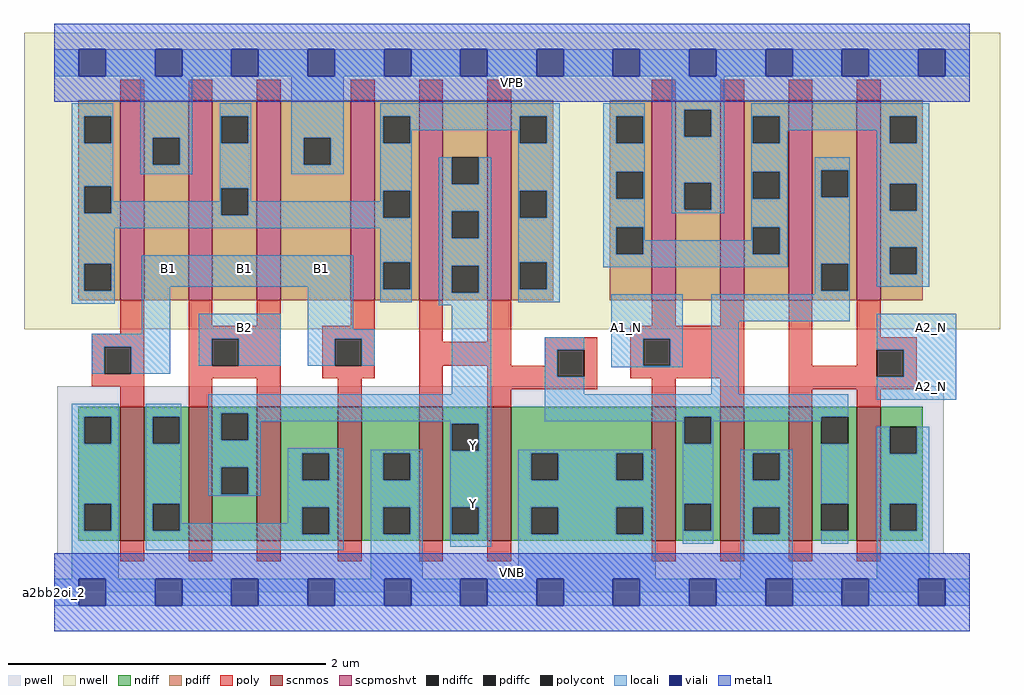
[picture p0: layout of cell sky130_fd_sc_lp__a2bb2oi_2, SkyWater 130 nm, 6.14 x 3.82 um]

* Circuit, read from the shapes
.subckt sky130_fd_sc_lp__a2bb2oi_2 A1_N A2_N B1 B2 VGND VNB VPB VPWR Y
XM1 n1 B1 VGND VNB sky130_fd_pr__nfet_01v8 w=0.84 l=0.15 m=2
XM2 Y B2 n1 VNB sky130_fd_pr__nfet_01v8 w=0.84 l=0.15 m=2
XM3 Y n2 VGND VNB sky130_fd_pr__nfet_01v8 w=0.84 l=0.15 m=2
XM4 n2 A1_N VGND VNB sky130_fd_pr__nfet_01v8 w=0.84 l=0.15 m=2
XM5 n2 A2_N VGND VNB sky130_fd_pr__nfet_01v8 w=0.84 l=0.15 m=2
XM6 VPWR B1 n3 VPB sky130_fd_pr__pfet_01v8_hvt w=1.26 l=0.15 m=2
XM7 n3 B2 VPWR VPB sky130_fd_pr__pfet_01v8_hvt w=1.26 l=0.15 m=2
XM8 Y n2 n3 VPB sky130_fd_pr__pfet_01v8_hvt w=1.26 l=0.15 m=2
XM9 VPWR A1_N n4 VPB sky130_fd_pr__pfet_01v8_hvt w=1.26 l=0.15 m=2
XM10 n2 A2_N n4 VPB sky130_fd_pr__pfet_01v8_hvt w=1.26 l=0.15 m=2
.ends

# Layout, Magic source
magic
tech sky130A
magscale 1 2
<< nwell >>
rect -38 331 1190 704
<< pwell >>
rect 4 49 1119 259
rect 0 0 1152 49
<< scnmos >>
rect 83 65 113 233
rect 169 65 199 233
rect 255 65 285 233
rect 357 65 387 233
rect 459 65 489 233
rect 545 65 575 233
rect 752 65 782 233
rect 838 65 868 233
rect 924 65 954 233
rect 1010 65 1040 233
<< scpmoshvt >>
rect 83 367 113 619
rect 169 367 199 619
rect 255 367 285 619
rect 373 367 403 619
rect 459 367 489 619
rect 545 367 575 619
rect 752 367 782 619
rect 838 367 868 619
rect 924 367 954 619
rect 1010 367 1040 619
<< ndiff >>
rect 30 221 83 233
rect 30 187 38 221
rect 72 187 83 221
rect 30 111 83 187
rect 30 77 38 111
rect 72 77 83 111
rect 30 65 83 77
rect 113 221 169 233
rect 113 187 124 221
rect 158 187 169 221
rect 113 111 169 187
rect 113 77 124 111
rect 158 77 169 111
rect 113 65 169 77
rect 199 225 255 233
rect 199 191 210 225
rect 244 191 255 225
rect 199 157 255 191
rect 199 123 210 157
rect 244 123 255 157
rect 199 65 255 123
rect 285 175 357 233
rect 285 141 312 175
rect 346 141 357 175
rect 285 107 357 141
rect 285 73 312 107
rect 346 73 357 107
rect 285 65 357 73
rect 387 175 459 233
rect 387 141 414 175
rect 448 141 459 175
rect 387 107 459 141
rect 387 73 414 107
rect 448 73 459 107
rect 387 65 459 73
rect 489 212 545 233
rect 489 178 500 212
rect 534 178 545 212
rect 489 107 545 178
rect 489 73 500 107
rect 534 73 545 107
rect 489 65 545 73
rect 575 175 752 233
rect 575 141 600 175
rect 634 141 707 175
rect 741 141 752 175
rect 575 107 752 141
rect 575 73 600 107
rect 634 73 707 107
rect 741 73 752 107
rect 575 65 752 73
rect 782 221 838 233
rect 782 187 793 221
rect 827 187 838 221
rect 782 111 838 187
rect 782 77 793 111
rect 827 77 838 111
rect 782 65 838 77
rect 868 175 924 233
rect 868 141 879 175
rect 913 141 924 175
rect 868 107 924 141
rect 868 73 879 107
rect 913 73 924 107
rect 868 65 924 73
rect 954 221 1010 233
rect 954 187 965 221
rect 999 187 1010 221
rect 954 111 1010 187
rect 954 77 965 111
rect 999 77 1010 111
rect 954 65 1010 77
rect 1040 208 1093 233
rect 1040 174 1051 208
rect 1085 174 1093 208
rect 1040 111 1093 174
rect 1040 77 1051 111
rect 1085 77 1093 111
rect 1040 65 1093 77
<< pdiff >>
rect 30 599 83 619
rect 30 565 38 599
rect 72 565 83 599
rect 30 511 83 565
rect 30 477 38 511
rect 72 477 83 511
rect 30 413 83 477
rect 30 379 38 413
rect 72 379 83 413
rect 30 367 83 379
rect 113 572 169 619
rect 113 538 124 572
rect 158 538 169 572
rect 113 367 169 538
rect 199 599 255 619
rect 199 565 210 599
rect 244 565 255 599
rect 199 508 255 565
rect 199 474 210 508
rect 244 474 255 508
rect 199 367 255 474
rect 285 572 373 619
rect 285 538 314 572
rect 348 538 373 572
rect 285 367 373 538
rect 403 599 459 619
rect 403 565 414 599
rect 448 565 459 599
rect 403 505 459 565
rect 403 471 414 505
rect 448 471 459 505
rect 403 415 459 471
rect 403 381 414 415
rect 448 381 459 415
rect 403 367 459 381
rect 489 547 545 619
rect 489 513 500 547
rect 534 513 545 547
rect 489 479 545 513
rect 489 445 500 479
rect 534 445 545 479
rect 489 411 545 445
rect 489 377 500 411
rect 534 377 545 411
rect 489 367 545 377
rect 575 599 628 619
rect 575 565 586 599
rect 620 565 628 599
rect 575 505 628 565
rect 575 471 586 505
rect 620 471 628 505
rect 575 415 628 471
rect 575 381 586 415
rect 620 381 628 415
rect 575 367 628 381
rect 699 599 752 619
rect 699 565 707 599
rect 741 565 752 599
rect 699 529 752 565
rect 699 495 707 529
rect 741 495 752 529
rect 699 459 752 495
rect 699 425 707 459
rect 741 425 752 459
rect 699 367 752 425
rect 782 607 838 619
rect 782 573 793 607
rect 827 573 838 607
rect 782 515 838 573
rect 782 481 793 515
rect 827 481 838 515
rect 782 367 838 481
rect 868 599 924 619
rect 868 565 879 599
rect 913 565 924 599
rect 868 529 924 565
rect 868 495 879 529
rect 913 495 924 529
rect 868 459 924 495
rect 868 425 879 459
rect 913 425 924 459
rect 868 367 924 425
rect 954 531 1010 619
rect 954 497 965 531
rect 999 497 1010 531
rect 954 413 1010 497
rect 954 379 965 413
rect 999 379 1010 413
rect 954 367 1010 379
rect 1040 599 1093 619
rect 1040 565 1051 599
rect 1085 565 1093 599
rect 1040 514 1093 565
rect 1040 480 1051 514
rect 1085 480 1093 514
rect 1040 434 1093 480
rect 1040 400 1051 434
rect 1085 400 1093 434
rect 1040 367 1093 400
<< ndiffc >>
rect 38 187 72 221
rect 38 77 72 111
rect 124 187 158 221
rect 124 77 158 111
rect 210 191 244 225
rect 210 123 244 157
rect 312 141 346 175
rect 312 73 346 107
rect 414 141 448 175
rect 414 73 448 107
rect 500 178 534 212
rect 500 73 534 107
rect 600 141 634 175
rect 707 141 741 175
rect 600 73 634 107
rect 707 73 741 107
rect 793 187 827 221
rect 793 77 827 111
rect 879 141 913 175
rect 879 73 913 107
rect 965 187 999 221
rect 965 77 999 111
rect 1051 174 1085 208
rect 1051 77 1085 111
<< pdiffc >>
rect 38 565 72 599
rect 38 477 72 511
rect 38 379 72 413
rect 124 538 158 572
rect 210 565 244 599
rect 210 474 244 508
rect 314 538 348 572
rect 414 565 448 599
rect 414 471 448 505
rect 414 381 448 415
rect 500 513 534 547
rect 500 445 534 479
rect 500 377 534 411
rect 586 565 620 599
rect 586 471 620 505
rect 586 381 620 415
rect 707 565 741 599
rect 707 495 741 529
rect 707 425 741 459
rect 793 573 827 607
rect 793 481 827 515
rect 879 565 913 599
rect 879 495 913 529
rect 879 425 913 459
rect 965 497 999 531
rect 965 379 999 413
rect 1051 565 1085 599
rect 1051 480 1085 514
rect 1051 400 1085 434
<< poly >>
rect 83 619 113 645
rect 169 619 199 645
rect 255 619 285 645
rect 373 619 403 645
rect 459 619 489 645
rect 545 619 575 645
rect 752 619 782 645
rect 838 619 868 645
rect 924 619 954 645
rect 1010 619 1040 645
rect 83 325 113 367
rect 47 309 113 325
rect 47 275 63 309
rect 97 275 113 309
rect 47 259 113 275
rect 83 233 113 259
rect 169 335 199 367
rect 255 335 285 367
rect 373 335 403 367
rect 169 319 285 335
rect 169 285 198 319
rect 232 285 285 319
rect 169 269 285 285
rect 337 319 403 335
rect 337 285 353 319
rect 387 285 403 319
rect 337 269 403 285
rect 459 315 489 367
rect 545 315 575 367
rect 752 335 782 367
rect 838 335 868 367
rect 459 285 575 315
rect 617 305 683 321
rect 617 285 633 305
rect 169 233 199 269
rect 255 233 285 269
rect 357 233 387 269
rect 459 233 489 285
rect 545 271 633 285
rect 667 271 683 305
rect 545 255 683 271
rect 725 319 868 335
rect 725 285 741 319
rect 775 285 868 319
rect 725 269 868 285
rect 545 233 575 255
rect 752 233 782 269
rect 838 233 868 269
rect 924 285 954 367
rect 1010 321 1040 367
rect 1010 305 1085 321
rect 1010 285 1035 305
rect 924 271 1035 285
rect 1069 271 1085 305
rect 924 255 1085 271
rect 924 233 954 255
rect 1010 233 1040 255
rect 83 39 113 65
rect 169 39 199 65
rect 255 39 285 65
rect 357 39 387 65
rect 459 39 489 65
rect 545 39 575 65
rect 752 39 782 65
rect 838 39 868 65
rect 924 39 954 65
rect 1010 39 1040 65
<< polycont >>
rect 63 275 97 309
rect 198 285 232 319
rect 353 285 387 319
rect 633 271 667 305
rect 741 285 775 319
rect 1035 271 1069 305
<< locali >>
rect 0 649 31 683
rect 65 649 127 683
rect 161 649 223 683
rect 257 649 319 683
rect 353 649 415 683
rect 449 649 511 683
rect 545 649 607 683
rect 641 649 703 683
rect 737 649 799 683
rect 833 649 895 683
rect 929 649 991 683
rect 1025 649 1087 683
rect 1121 649 1152 683
rect 22 599 74 615
rect 22 565 38 599
rect 72 565 74 599
rect 22 511 74 565
rect 108 572 174 649
rect 108 538 124 572
rect 158 538 174 572
rect 108 526 174 538
rect 208 599 248 615
rect 208 565 210 599
rect 244 565 248 599
rect 22 477 38 511
rect 72 492 74 511
rect 208 508 248 565
rect 298 572 364 649
rect 298 538 314 572
rect 348 538 364 572
rect 298 526 364 538
rect 410 599 636 615
rect 410 565 414 599
rect 448 581 586 599
rect 448 565 450 581
rect 208 492 210 508
rect 72 477 210 492
rect 22 474 210 477
rect 244 492 248 508
rect 410 505 450 565
rect 584 565 586 581
rect 620 565 636 599
rect 410 492 414 505
rect 244 474 414 492
rect 22 471 414 474
rect 448 471 450 505
rect 22 458 450 471
rect 22 413 76 458
rect 22 379 38 413
rect 72 379 76 413
rect 22 363 76 379
rect 110 384 376 424
rect 110 325 146 384
rect 47 309 146 325
rect 47 275 63 309
rect 97 275 146 309
rect 182 319 285 350
rect 182 285 198 319
rect 232 285 285 319
rect 319 331 376 384
rect 410 415 450 458
rect 410 381 414 415
rect 448 381 450 415
rect 410 365 450 381
rect 484 513 500 547
rect 534 513 550 547
rect 484 479 550 513
rect 484 445 500 479
rect 534 445 550 479
rect 484 411 550 445
rect 484 377 500 411
rect 534 377 550 411
rect 484 361 550 377
rect 584 505 636 565
rect 584 471 586 505
rect 620 471 636 505
rect 584 415 636 471
rect 584 381 586 415
rect 620 381 636 415
rect 691 599 743 615
rect 691 565 707 599
rect 741 565 743 599
rect 691 529 743 565
rect 691 495 707 529
rect 741 495 743 529
rect 691 459 743 495
rect 777 607 843 649
rect 777 573 793 607
rect 827 573 843 607
rect 777 515 843 573
rect 777 481 793 515
rect 827 481 843 515
rect 777 477 843 481
rect 877 599 1101 615
rect 877 565 879 599
rect 913 581 1051 599
rect 913 565 923 581
rect 877 529 923 565
rect 1035 565 1051 581
rect 1085 565 1101 599
rect 877 495 879 529
rect 913 495 923 529
rect 691 425 707 459
rect 741 443 743 459
rect 877 459 923 495
rect 877 443 879 459
rect 741 425 879 443
rect 913 425 923 459
rect 691 409 923 425
rect 957 531 1001 547
rect 957 497 965 531
rect 999 497 1001 531
rect 957 413 1001 497
rect 584 365 636 381
rect 957 379 965 413
rect 999 379 1001 413
rect 1035 514 1101 565
rect 1035 480 1051 514
rect 1085 480 1101 514
rect 1035 434 1101 480
rect 1035 400 1051 434
rect 1085 400 1101 434
rect 1035 384 1101 400
rect 957 375 1001 379
rect 319 319 403 331
rect 319 285 353 319
rect 387 285 403 319
rect 500 249 550 361
rect 22 221 81 237
rect 22 187 38 221
rect 72 187 81 221
rect 22 111 81 187
rect 22 77 38 111
rect 72 77 81 111
rect 22 17 81 77
rect 115 221 160 237
rect 115 187 124 221
rect 158 187 160 221
rect 115 111 160 187
rect 194 225 550 249
rect 194 191 210 225
rect 244 215 550 225
rect 617 305 667 321
rect 617 271 633 305
rect 701 319 791 375
rect 701 285 741 319
rect 775 285 791 319
rect 701 283 791 285
rect 827 341 1001 375
rect 617 249 667 271
rect 827 249 861 341
rect 1035 305 1135 350
rect 1069 271 1135 305
rect 617 221 999 249
rect 1035 242 1135 271
rect 617 215 793 221
rect 244 191 260 215
rect 194 157 260 191
rect 498 212 550 215
rect 194 123 210 157
rect 244 123 260 157
rect 194 121 260 123
rect 294 175 364 181
rect 294 141 312 175
rect 346 141 364 175
rect 115 77 124 111
rect 158 87 160 111
rect 294 107 364 141
rect 294 87 312 107
rect 158 77 312 87
rect 115 73 312 77
rect 346 73 364 107
rect 115 53 364 73
rect 398 175 464 179
rect 398 141 414 175
rect 448 141 464 175
rect 398 107 464 141
rect 398 73 414 107
rect 448 73 464 107
rect 398 17 464 73
rect 498 178 500 212
rect 534 178 550 212
rect 791 187 793 215
rect 827 215 965 221
rect 827 187 829 215
rect 498 107 550 178
rect 498 73 500 107
rect 534 73 550 107
rect 498 57 550 73
rect 584 175 757 179
rect 584 141 600 175
rect 634 141 707 175
rect 741 141 757 175
rect 584 107 757 141
rect 584 73 600 107
rect 634 73 707 107
rect 741 73 757 107
rect 584 17 757 73
rect 791 111 829 187
rect 791 77 793 111
rect 827 77 829 111
rect 791 61 829 77
rect 863 175 929 179
rect 863 141 879 175
rect 913 141 929 175
rect 863 107 929 141
rect 863 73 879 107
rect 913 73 929 107
rect 863 17 929 73
rect 965 111 999 187
rect 965 61 999 77
rect 1035 174 1051 208
rect 1085 174 1101 208
rect 1035 111 1101 174
rect 1035 77 1051 111
rect 1085 77 1101 111
rect 1035 17 1101 77
rect 0 -17 31 17
rect 65 -17 127 17
rect 161 -17 223 17
rect 257 -17 319 17
rect 353 -17 415 17
rect 449 -17 511 17
rect 545 -17 607 17
rect 641 -17 703 17
rect 737 -17 799 17
rect 833 -17 895 17
rect 929 -17 991 17
rect 1025 -17 1087 17
rect 1121 -17 1152 17
<< viali >>
rect 31 649 65 683
rect 127 649 161 683
rect 223 649 257 683
rect 319 649 353 683
rect 415 649 449 683
rect 511 649 545 683
rect 607 649 641 683
rect 703 649 737 683
rect 799 649 833 683
rect 895 649 929 683
rect 991 649 1025 683
rect 1087 649 1121 683
rect 31 -17 65 17
rect 127 -17 161 17
rect 223 -17 257 17
rect 319 -17 353 17
rect 415 -17 449 17
rect 511 -17 545 17
rect 607 -17 641 17
rect 703 -17 737 17
rect 799 -17 833 17
rect 895 -17 929 17
rect 991 -17 1025 17
rect 1087 -17 1121 17
<< metal1 >>
rect 0 683 1152 715
rect 0 649 31 683
rect 65 649 127 683
rect 161 649 223 683
rect 257 649 319 683
rect 353 649 415 683
rect 449 649 511 683
rect 545 649 607 683
rect 641 649 703 683
rect 737 649 799 683
rect 833 649 895 683
rect 929 649 991 683
rect 1025 649 1087 683
rect 1121 649 1152 683
rect 0 617 1152 649
rect 0 17 1152 49
rect 0 -17 31 17
rect 65 -17 127 17
rect 161 -17 223 17
rect 257 -17 319 17
rect 353 -17 415 17
rect 449 -17 511 17
rect 545 -17 607 17
rect 641 -17 703 17
rect 737 -17 799 17
rect 833 -17 895 17
rect 929 -17 991 17
rect 1025 -17 1087 17
rect 1121 -17 1152 17
rect 0 -49 1152 -17
<< labels >>
flabel pwell s 0 0 1152 49 0 FreeSans 200 0 0 0 VNB
port 6 nsew ground bidirectional
flabel nwell s 0 617 1152 666 0 FreeSans 200 0 0 0 VPB
port 7 nsew power bidirectional
rlabel comment s 0 0 0 0 4 a2bb2oi_2
flabel metal1 s 0 617 1152 666 0 FreeSans 340 0 0 0 VPWR
port 8 nsew power bidirectional
flabel metal1 s 0 0 1152 49 0 FreeSans 340 0 0 0 VGND
port 5 nsew ground bidirectional
flabel locali s 703 316 737 350 0 FreeSans 340 0 0 0 A1_N
port 1 nsew signal input
flabel locali s 1087 242 1121 276 0 FreeSans 340 0 0 0 A2_N
port 2 nsew signal input
flabel locali s 1087 316 1121 350 0 FreeSans 340 0 0 0 A2_N
port 2 nsew signal input
flabel locali s 127 390 161 424 0 FreeSans 340 0 0 0 B1
port 3 nsew signal input
flabel locali s 223 390 257 424 0 FreeSans 340 0 0 0 B1
port 3 nsew signal input
flabel locali s 319 390 353 424 0 FreeSans 340 0 0 0 B1
port 3 nsew signal input
flabel locali s 223 316 257 350 0 FreeSans 340 0 0 0 B2
port 4 nsew signal input
flabel locali s 511 94 545 128 0 FreeSans 340 0 0 0 Y
port 9 nsew signal output
flabel locali s 511 168 545 202 0 FreeSans 340 0 0 0 Y
port 9 nsew signal output
<< properties >>
string LEFsite unit
string LEFclass CORE
string FIXED_BBOX 0 0 1152 666
string GDS_FILE $PDKPATH/libs.ref/sky130_fd_sc_lp/gds/sky130_fd_sc_lp.gds
string LEFsymmetry X Y R90
string GDS_END 3088054
string GDS_START 3077874
<< end >>
